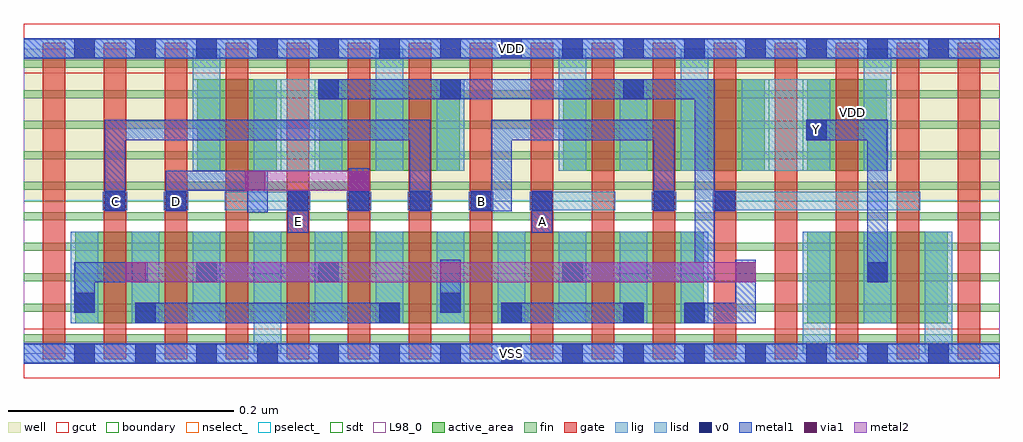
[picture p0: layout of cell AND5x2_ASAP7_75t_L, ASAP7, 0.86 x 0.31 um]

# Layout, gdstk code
import gdstk
lib = gdstk.Library(unit=1e-6, precision=2.5e-10)
def R(c, l, rs):  # rectangles x0, y0, x1, y1
    for r in rs: c.add(gdstk.rectangle(r[:2], r[2:], *l))
def A(c, l, x, y, w, h, nx, ny, dx, dy):  # array of equal rectangles
    R(c, l, [(x+i*dx, y+j*dy, x+i*dx+w, y+j*dy+h) for i in range(nx) for j in range(ny)])
def P(c, l, *ps):  # polygons
    for p in ps: c.add(gdstk.Polygon(p, *l))
well = (1, 0)
fin = (2, 0)
gate = (7, 0)
gcut = (10, 0)
active_area = (11, 0)
nselect_ = (12, 0)
pselect_ = (13, 0)
lig = (16, 0)
lisd = (17, 0)
v0 = (18, 0)
metal1 = (19, 0)
metal2 = (20, 0)
via1 = (21, 0)
sdt = (88, 0)
L98_0 = (98, 0)
boundary = (100, 0)

and5x2_asap7_75t_l = lib.new_cell('AND5x2_ASAP7_75t_L')
R(and5x2_asap7_75t_l, well, [(0,0.135,0.864,0.27)])
A(and5x2_asap7_75t_l, fin, 0, 0.01, 0.864, 0.007, 1, 10, 0, 0.027)
A(and5x2_asap7_75t_l, gate, 0.017, -0.005, 0.02, 0.28, 16, 1, 0.054, 0)
R(and5x2_asap7_75t_l, gcut, [(0,-0.022,0.864,0.022), (0,0.248,0.864,0.292)])
R(and5x2_asap7_75t_l, active_area, [(0.046,0.027,0.602,0.108), (0.694,0.027,0.818,0.108), (0.154,0.162,0.224,0.243), (0.262,0.162,0.386,0.243), (0.478,0.162,0.656,0.243), (0.694,0.162,0.764,0.243)])
R(and5x2_asap7_75t_l, nselect_, [(0,0,0.864,0.135)])
R(and5x2_asap7_75t_l, pselect_, [(0,0.135,0.864,0.27)])
A(and5x2_asap7_75t_l, lig, 0.286, 0.127, 0.022, 0.016, 3, 1, 0.054, 0)
R(and5x2_asap7_75t_l, lig, [(0,-0.008,0.864,0.008), (0.07,0.127,0.092,0.143), (0.124,0.127,0.146,0.143), (0.178,0.127,0.254,0.143), (0.448,0.127,0.524,0.143), (0.556,0.127,0.578,0.143), (0.61,0.127,0.794,0.143), (0,0.262,0.864,0.278)])
A(and5x2_asap7_75t_l, lisd, 0.042, 0.027, 0.024, 0.081, 3, 1, 0.054, 0)
A(and5x2_asap7_75t_l, lisd, 0.258, 0.027, 0.024, 0.081, 7, 1, 0.054, 0)
A(and5x2_asap7_75t_l, lisd, 0.15, 0.162, 0.024, 0.108, 3, 1, 0.162, 0)
R(and5x2_asap7_75t_l, lisd, [(0.204,0,0.228,0.108), (0.69,0,0.714,0.108), (0.798,0,0.822,0.108), (0.744,0.027,0.768,0.108), (0.204,0.162,0.282,0.243), (0.366,0.162,0.39,0.243), (0.528,0.162,0.552,0.243), (0.582,0.162,0.606,0.27), (0.636,0.162,0.714,0.243), (0.744,0.162,0.768,0.27)])
A(and5x2_asap7_75t_l, v0, 0.045, -0.009, 0.018, 0.018, 15, 2, 0.054, 0.27)
A(and5x2_asap7_75t_l, v0, 0.315, 0.027, 0.018, 0.018, 3, 1, 0.108, 0)
A(and5x2_asap7_75t_l, v0, 0.234, 0.126, 0.018, 0.018, 5, 1, 0.054, 0)
R(and5x2_asap7_75t_l, v0, [(0.099,0.027,0.117,0.045), (0.585,0.027,0.603,0.045), (0.045,0.036,0.063,0.054), (0.369,0.036,0.387,0.054), (0.153,0.063,0.171,0.081), (0.261,0.063,0.279,0.081), (0.477,0.063,0.495,0.081), (0.747,0.063,0.765,0.081), (0.072,0.126,0.09,0.144), (0.126,0.126,0.144,0.144), (0.558,0.126,0.576,0.144), (0.612,0.126,0.63,0.144), (0.693,0.189,0.711,0.207), (0.261,0.225,0.279,0.243), (0.369,0.225,0.387,0.243), (0.531,0.225,0.549,0.243)])
R(and5x2_asap7_75t_l, metal1, [(0,-0.009,0.864,0.009), (0.099,0.027,0.333,0.045), (0.423,0.027,0.549,0.045), (0.369,0.036,0.387,0.083), (0.153,0.063,0.279,0.081), (0.234,0.107,0.252,0.144), (0.45,0.107,0.468,0.144), (0.288,0.126,0.306,0.164), (0,0.261,0.864,0.279)])
P(and5x2_asap7_75t_l, metal1, [(0.747,0.063),(0.747,0.189),(0.693,0.189),(0.693,0.207),(0.765,0.207),(0.765,0.063)],
  [(0.396,0.126),(0.396,0.144),(0.414,0.144),(0.414,0.207),(0.576,0.207),(0.576,0.126),(0.558,0.126),(0.558,0.189),(0.432,0.189),(0.432,0.126)],
  [(0.072,0.126),(0.072,0.207),(0.36,0.207),(0.36,0.126),(0.342,0.126),(0.342,0.189),(0.09,0.189),(0.09,0.126)],
  [(0.477,0.063),(0.477,0.081),(0.594,0.081),(0.594,0.225),(0.261,0.225),(0.261,0.243),(0.612,0.243),(0.612,0.144),(0.63,0.144),(0.63,0.126),(0.612,0.126),(0.612,0.063)],
  [(0.198,0.125),(0.198,0.144),(0.144,0.144),(0.144,0.126),(0.126,0.126),(0.126,0.162),(0.216,0.162),(0.216,0.125)],
  [(0.585,0.027),(0.585,0.045),(0.63,0.045),(0.63,0.083),(0.648,0.083),(0.648,0.027)],
  [(0.045,0.036),(0.045,0.081),(0.11,0.081),(0.11,0.063),(0.063,0.063),(0.063,0.036)])
R(and5x2_asap7_75t_l, metal2, [(0.09,0.063,0.648,0.081), (0.196,0.144,0.306,0.162)])
R(and5x2_asap7_75t_l, via1, [(0.09,0.063,0.108,0.081), (0.369,0.063,0.387,0.081), (0.63,0.063,0.648,0.081), (0.196,0.144,0.214,0.162), (0.288,0.144,0.306,0.162)])
A(and5x2_asap7_75t_l, sdt, 0.042, 0.027, 0.024, 0.081, 11, 1, 0.054, 0)
A(and5x2_asap7_75t_l, sdt, 0.69, 0.027, 0.024, 0.081, 3, 1, 0.054, 0)
A(and5x2_asap7_75t_l, sdt, 0.15, 0.162, 0.024, 0.081, 5, 1, 0.054, 0)
A(and5x2_asap7_75t_l, sdt, 0.474, 0.162, 0.024, 0.081, 6, 1, 0.054, 0)
R(and5x2_asap7_75t_l, L98_0, [(0,0,0.864,0.27)])
R(and5x2_asap7_75t_l, boundary, [(0,0,0.864,0.27)])
and5x2_asap7_75t_l.add(gdstk.Label('B', (0.405,0.135), layer=19, texttype=251))
and5x2_asap7_75t_l.add(gdstk.Label('Y', (0.702,0.198), layer=19, texttype=251))
and5x2_asap7_75t_l.add(gdstk.Label('C', (0.081,0.135), layer=19, texttype=251))
and5x2_asap7_75t_l.add(gdstk.Label('A', (0.459,0.117), layer=19, texttype=251))
and5x2_asap7_75t_l.add(gdstk.Label('D', (0.135,0.135), layer=19, texttype=251))
and5x2_asap7_75t_l.add(gdstk.Label('E', (0.243,0.117), layer=19, texttype=251))
and5x2_asap7_75t_l.add(gdstk.Label('VSS', (0.432,0), layer=19, texttype=251))
and5x2_asap7_75t_l.add(gdstk.Label('VDD', (0.432,0.27), layer=19, texttype=251))
and5x2_asap7_75t_l.add(gdstk.Label('VDD', (0.734,0.213), layer=1, texttype=251))
and5x2_asap7_75t_l.add(gdstk.Label('VSS', (0.994,0.213), layer=3, texttype=251))

lib.write_gds('AND5x2_ASAP7_75t_L.gds')
